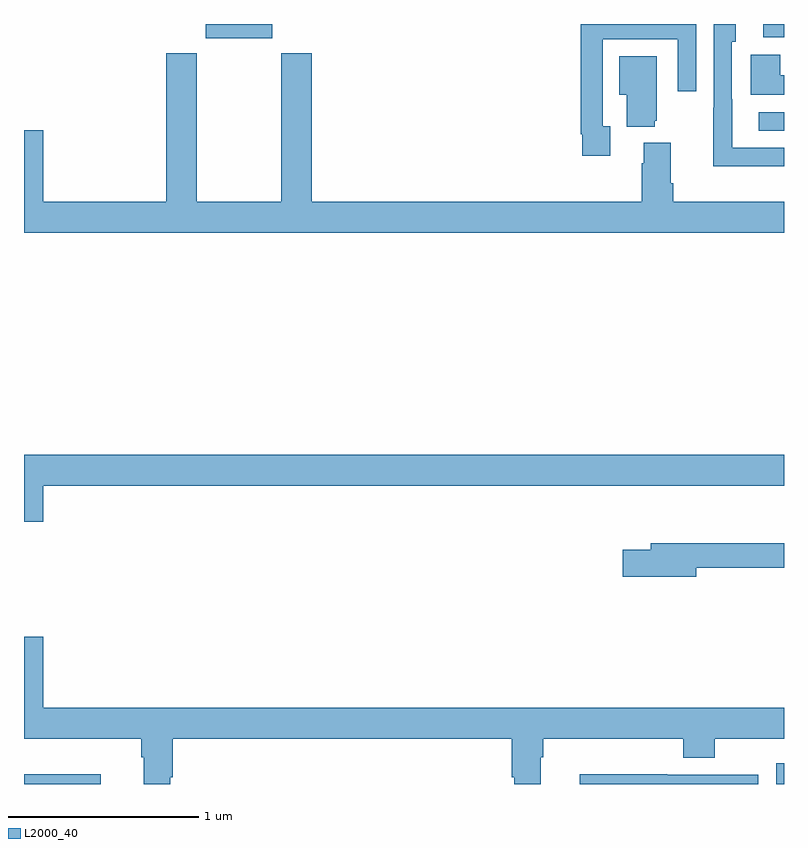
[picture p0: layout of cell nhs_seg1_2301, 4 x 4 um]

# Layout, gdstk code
import gdstk
lib = gdstk.Library(unit=1e-6, precision=1e-09)
def R(c, l, rs):  # rectangles x0, y0, x1, y1
    for r in rs: c.add(gdstk.rectangle(r[:2], r[2:], *l))
def P(c, l, *ps):  # polygons
    for p in ps: c.add(gdstk.Polygon(p, *l))
L2000_40 = (2000, 40)

nhs_seg1_2301 = lib.new_cell('nhs_seg1_2301')
R(nhs_seg1_2301, L2000_40, [(237,514.199,237.405,514.25), (240.96,514.199,241,514.309), (240.867,517.638,241,517.734), (237.956,518.123,238.306,518.199), (240.891,518.13,241,518.199)])
P(nhs_seg1_2301, L2000_40, [(240.085,517.662),(240.045,517.662),(240.045,518.118),(240.441,518.118),(240.441,517.845),(240.537,517.845),(240.537,518.199),(239.929,518.199),(239.929,517.618),(239.937,517.618),(239.937,517.506),(240.085,517.506)],
  [(241,517.548),(240.727,517.548),(240.727,517.802),(240.726,517.802),(240.726,518.106),(240.745,518.106),(240.745,518.199),(240.63,518.199),(240.63,517.757),(240.628,517.757),(240.628,517.451),(241,517.451)],
  [(241,517.93),(240.981,517.93),(240.981,518.038),(240.824,518.038),(240.824,517.826),(241,517.826)],
  [(240.32,517.689),(240.331,517.689),(240.331,518.029),(240.134,518.029),(240.134,517.826),(240.173,517.826),(240.173,517.658),(240.32,517.658)],
  [(240.263,517.573),(240.263,517.466),(240.251,517.466),(240.251,517.264),(238.514,517.264),(238.514,518.044),(238.354,518.044),(238.354,517.264),(237.909,517.264),(237.909,518.044),(237.749,518.044),(237.749,517.264),(237.1,517.264),(237.1,517.639),(237,517.639),(237,517.1),(241,517.1),(241,517.264),(240.416,517.264),(240.416,517.36),(240.403,517.36),(240.403,517.573)],
  [(237.1,515.768),(241,515.768),(241,515.932),(237,515.932),(237,515.58),(237.1,515.58)],
  [(240.538,515.338),(241,515.338),(241,515.467),(240.299,515.467),(240.299,515.433),(240.15,515.433),(240.15,515.291),(240.538,515.291)],
  [(237.769,514.234),(237.782,514.234),(237.782,514.436),(239.567,514.436),(239.567,514.234),(239.579,514.234),(239.579,514.199),(239.719,514.199),(239.719,514.34),(239.732,514.34),(239.732,514.436),(240.47,514.436),(240.47,514.337),(240.635,514.337),(240.635,514.436),(241,514.436),(241,514.6),(237.1,514.6),(237.1,514.975),(237,514.975),(237,514.436),(237.617,514.436),(237.617,514.34),(237.629,514.34),(237.629,514.199),(237.769,514.199)],
  [(240.864,514.248),(240.386,514.248),(240.386,514.25),(239.924,514.25),(239.924,514.199),(240.864,514.199)])

lib.write_gds('nhs_seg1_2301.gds')
